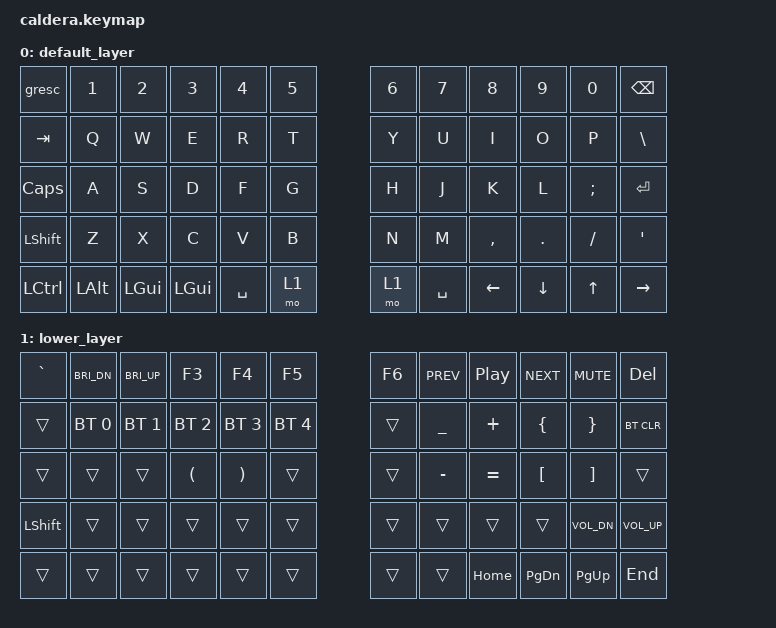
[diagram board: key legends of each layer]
#include <behaviors.dtsi>
#include <dt-bindings/zmk/keys.h>
#include <dt-bindings/zmk/bt.h>

/ {
        keymap {
                compatible = "zmk,keymap";

                default_layer {
// -----------------------------------------------------------------------------------------
// | ESC/~ |  1  |  2  |  3  |  4  |  5  |           |  6  |  7  |  8  |  9  |  0  | BKSP |
// |  TAB  |  Q  |  W  |  E  |  R  |  T  |           |  Y  |  U  |  I  |  O  |  P  |  \   |
// | CAPS  |  A  |  S  |  D  |  F  |  G  |           |  H  |  J  |  K  |  L  |  ;  | ENT  |
// | SHIFT |  Z  |  X  |  C  |  V  |  B  |           |  N  |  M  |  ,  |  .  |  /  |  '   |
// | CTRL  | OPT | CMD | CMD | SPC | FN  |           | FN  | SPC | LFT | DWN |  UP | RGT  |
                        bindings = <
   &gresc     &kp N1    &kp N2    &kp N3     &kp N4     &kp N5               &kp N6     &kp N7  &kp N8     &kp N9    &kp N0    &kp BSPC
   &kp TAB    &kp Q     &kp W     &kp E      &kp R      &kp T                &kp Y      &kp U   &kp I      &kp O     &kp P     &kp BSLH
   &kp CAPS   &kp A     &kp S     &kp D      &kp F      &kp G                &kp H      &kp J   &kp K      &kp L     &kp SEMI  &kp RET
   &kp LSHFT  &kp Z     &kp X     &kp C      &kp V      &kp B                &kp N      &kp M   &kp COMMA  &kp DOT   &kp FSLH  &kp SQT
   &kp LCTRL  &kp LALT  &kp LGUI  &kp LGUI   &kp SPACE  &mo 1                &mo 1      &kp SPACE &kp LEFT &kp DOWN  &kp UP    &kp RIGHT
                        >;
                };

                lower_layer {
// --------------------------------------------------------------------------------------------------------------------
// |   `   |  BRI-  |  BRI+  |   F3   |   F4   |   F5   |          |   F6  |  PREV |  PLAY |  NEXT |   MUTE   |  DEL  |
// |       |  BT 1  |  BT 2  |  BT 3  |  BT 4  |  BT 5  |          |       |   _   |   +   |   {   |    }     | BTCLR |
// |       |        |        |   (    |   )    |        |          |       |   -   |   =   |   [   |    ]     |       |
// | SHIFT |        |        |        |        |        |          |       |       |       |       |   VOL-   | VOL+  |
// |       |        |        |        |        |        |          |       |       |  HOME | PGDN  |   PGUP   |  END  |
                        bindings = <
   &kp GRAVE &kp C_BRI_DN &kp C_BRI_UP &kp F3       &kp F4       &kp F5         &kp F6    &kp C_PREV &kp C_PP  &kp C_NEXT &kp C_MUTE   &kp DEL
   &trans    &bt BT_SEL 0 &bt BT_SEL 1 &bt BT_SEL 2 &bt BT_SEL 3 &bt BT_SEL 4   &trans    &kp UNDER  &kp PLUS  &kp LBRC   &kp RBRC     &bt BT_CLR
   &trans    &trans       &trans       &kp LPAR     &kp RPAR     &trans         &trans    &kp MINUS  &kp EQUAL &kp LBKT   &kp RBKT     &trans
   &kp LSHFT &trans       &trans       &trans       &trans       &trans         &trans    &trans     &trans    &trans     &kp C_VOL_DN &kp C_VOL_UP
   &trans    &trans       &trans       &trans       &trans       &trans         &trans    &trans     &kp HOME  &kp PG_DN  &kp PG_UP    &kp END
                        >;
                };
        };
};
